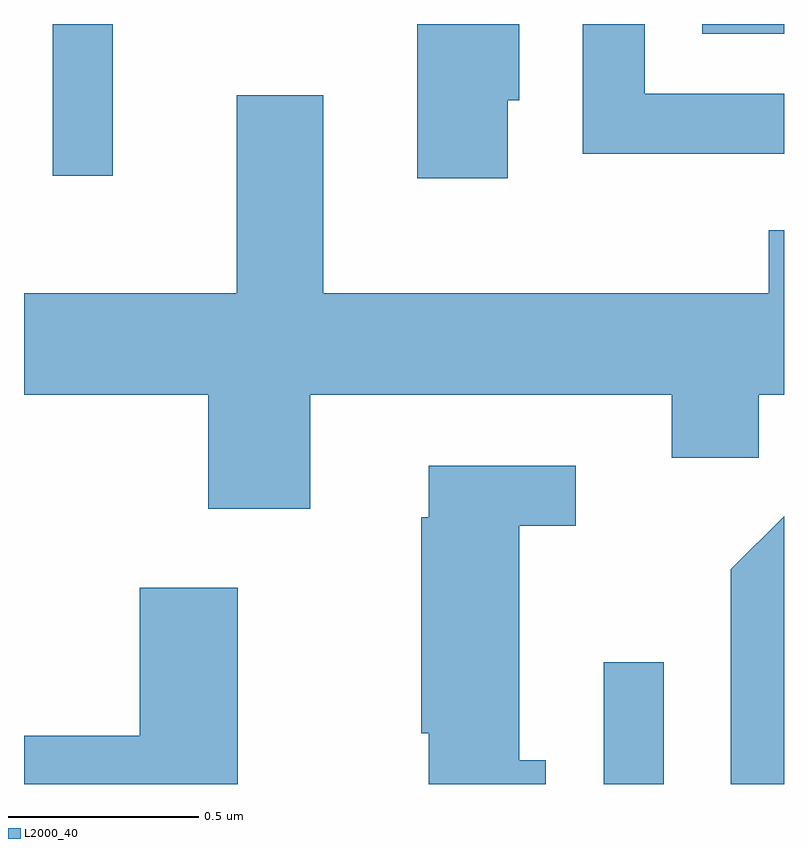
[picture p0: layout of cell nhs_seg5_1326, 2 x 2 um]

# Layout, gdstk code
import gdstk
lib = gdstk.Library(unit=1e-6, precision=1e-09)
def R(c, l, rs):  # rectangles x0, y0, x1, y1
    for r in rs: c.add(gdstk.rectangle(r[:2], r[2:], *l))
def P(c, l, *ps):  # polygons
    for p in ps: c.add(gdstk.Polygon(p, *l))
L2000_40 = (2000, 40)

nhs_seg5_1326 = lib.new_cell('nhs_seg5_1326')
R(nhs_seg5_1326, L2000_40, [(196.136,1489.072,196.294,1489.393), (194.686,1490.673,194.844,1491.072), (196.396,1491.046,196.611,1491.072)])
P(nhs_seg5_1326, L2000_40, [(195.884,1490.871),(195.914,1490.871),(195.914,1491.072),(195.646,1491.072),(195.646,1490.666),(195.884,1490.666)],
  [(196.611,1490.889),(196.244,1490.889),(196.244,1491.072),(196.081,1491.072),(196.081,1490.731),(196.611,1490.731)],
  [(195.364,1490.096),(196.316,1490.096),(196.316,1489.931),(196.544,1489.931),(196.544,1490.096),(196.611,1490.096),(196.611,1490.529),(196.571,1490.529),(196.571,1490.364),(195.399,1490.364),(195.399,1490.884),(195.171,1490.884),(195.171,1490.364),(194.611,1490.364),(194.611,1490.096),(195.096,1490.096),(195.096,1489.796),(195.364,1489.796)],
  [(195.984,1489.134),(195.914,1489.134),(195.914,1489.751),(196.063,1489.751),(196.063,1489.909),(195.676,1489.909),(195.676,1489.774),(195.656,1489.774),(195.656,1489.206),(195.676,1489.206),(195.676,1489.072),(195.984,1489.072)],
  [(196.611,1489.777),(196.471,1489.637),(196.471,1489.072),(196.611,1489.072)],
  [(195.174,1489.589),(194.916,1489.589),(194.916,1489.199),(194.611,1489.199),(194.611,1489.072),(195.174,1489.072)])

lib.write_gds('nhs_seg5_1326.gds')
